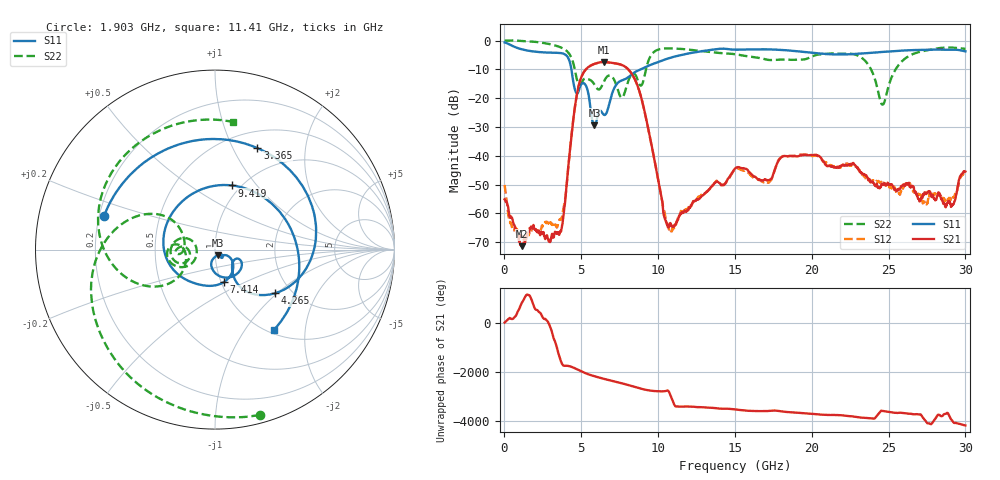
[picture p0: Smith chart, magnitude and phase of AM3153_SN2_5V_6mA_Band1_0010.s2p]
!Agilent Technologies,E8364B,MY43040894,A.07.50.67
!Agilent E8364B: A.07.50.67
!Date: Tuesday, May 12, 2020 09:43:33
!Correction: S11(Full 2 Port(1,2))
!S21(Full 2 Port(1,2))
!S12(Full 2 Port(1,2))
!S22(Full 2 Port(1,2))
!S2P File: Measurements: S11, S21, S12, S22:
# Hz S  dB  R 50
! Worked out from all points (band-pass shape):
!   1601 points, 10 MHz to 30 GHz, reference 50 ohm
!   highest |S21| = -7.43 dB at 6.477 GHz (marker M1); lowest = -71.4 dB at 1.116 GHz (marker M2)
!   |S21| within 3 dB of the highest: 5.235 GHz to 8.133 GHz (2.898 GHz wide, 43.4 % of centre)
!   lowest |S11| = -29.4 dB at 5.858 GHz (marker M3), VSWR 1.07, Z = 51.5 - j3.12 ohm
!   |S11| at or under -10 dB: 4.358 GHz to 8.875 GHz (4.517 GHz wide, 68.3 % of centre)
!   |S22| runs from -22.2 to 0.0 dB; largest |S21 - S12| = 0.0065
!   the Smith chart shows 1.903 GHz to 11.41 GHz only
!   S11 on the Smith chart (normalised r, x): 1.903 GHz: 0.22, +0.14; 3.365 GHz: 0.69, +1.25; 4.265 GHz: 1.64, -0.97; 7.414 GHz: 1.03, -0.39; 9.419 GHz: 0.91, +0.76; 11.41 GHz: 1.06, -1.37
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1e7  -0.64 -11.5  -55.08 26.0  -50.14 43.7  -0.04 -2.5
1.115881e9  -3.02 -139.9  -71.37 93.2  -67.61 -120.3  -0.17 -43.6
1.903119e9  -3.80 163.0  -64.25 -9.8  -64.70 130.5  -0.41 -74.8
3.365131e9  -4.25 67.3  -66.75 -162.9  -64.51 -96.3  -1.81 -137.5
4.264831e9  -7.69 -36.2  -37.91 45.8  -37.88 44.5  -4.99 168.1
5.014581e9  -15.06 -33.0  -12.54 -166.2  -12.54 -166.1  -14.79 -175.6
5.85805e9  -29.39 -63.1  -8.09 1.9  -8.10 2.1  -15.28 174.8
6.476594e9  -25.77 -48.4  -7.43 -104.8  -7.48 -104.7  -14.21 -157.0
7.413781e9  -14.52 -75.2  -8.11 110.3  -8.12 110.6  -17.65 160.1
9.419362e9  -8.64 75.1  -32.10 144.0  -32.31 144.3  -6.36 -157.5
1.001916e10  -7.39 23.1  -48.56 110.9  -48.63 110.5  -3.12 155.6
1.075017e10  -6.05 -22.6  -64.03 23.2  -65.06 150.3  -2.71 113.2
1.14062e10  -5.11 -53.9  -60.83 -153.9  -60.36 -159.1  -2.87 82.1
1.307439e10  -3.52 -113.2  -52.94 171.0  -52.86 168.4  -3.83 10.9
1.5005e10  -3.17 -171.8  -44.43 92.8  -44.76 90.3  -4.75 -65.9
1.794777e10  -3.25 103.1  -40.88 18.3  -40.78 19.6  -6.62 172.7
2.000958e10  -4.25 28.9  -39.74 -88.8  -40.03 -86.7  -5.55 24.7
2.132164e10  -4.78 -24.4  -43.57 -136.2  -43.39 -136.3  -4.45 -77.7
2.278366e10  -4.67 -84.0  -43.20 153.9  -43.67 149.0  -4.79 -162.0
2.501416e10  -3.80 -161.7  -50.00 -8.3  -51.12 -11.8  -15.56 -86.2
2.73009e10  -3.20 134.2  -53.35 68.7  -56.12 -109.9  -3.58 169.1
3e10  -3.74 75.4  -45.47 158.2  -46.77 160.9  -2.88 92.8
